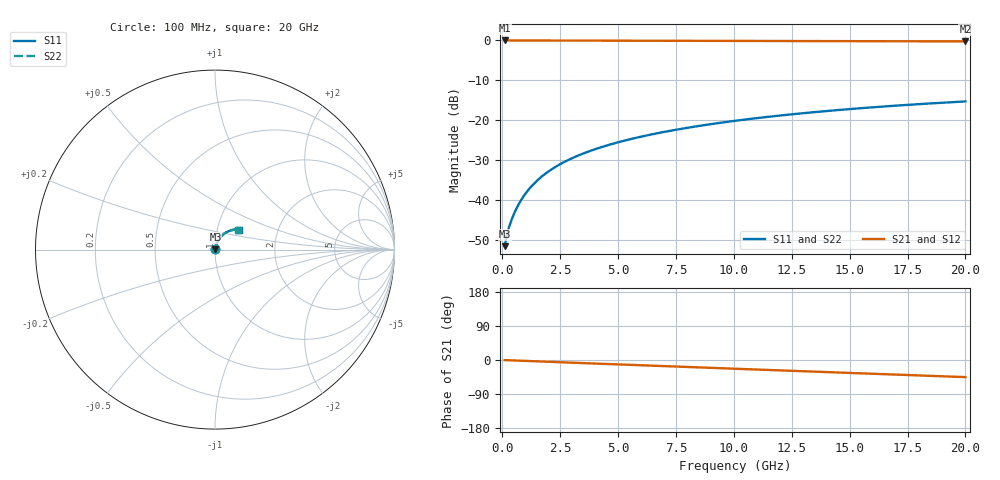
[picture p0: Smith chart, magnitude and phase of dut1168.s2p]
! Touchstone file exported from HFSS 2026.1.0
!  File:  C:/ffzhzh/LocalFiles/Ansys_Project_Files/temp_train_TMRDL_1168_1783162406_51560.aedt
!  Generated:  06:54:44 PM Jul  4, 2026
!  Design:  TMRDL
!  Project:  temp_train_TMRDL_1168_1783162406_51560
! Variables:
!  h_bsmrdl = 2um
!  h_ox = 20um
!  h_rdl = 5um
!  h_sub = 80um
!  h_tmrdl = 5.62um
!  h_tsv = 80um
!  h_via = 3um
!  l_bsmrdl = 300um
!  l_sub = 1182.29um
!  l_tmrdl = 782.29um
!  m_sub = 200um
!  pitch = 37.72um
!  r_tsv = 6um
!  s_tmrdl = 10um
!  w_bsmrdl = 18um
!  w_sub = 500um
!  w_tmrdl = 26.42um
!  x_tsv_center1 = 795.5um
!  x_tsv_center2 = 1113.5um
!  x_tsv_center3 = 1922.21um
!  x_tsv_center4 = 2240.21um
!  x_tsv_center5 = 3048.92um
!  x_tsv_center6 = 3366.92um
# GHz S MA R 50.000000
! Terminal data exported
! Port[1] = TM_RDL1_1_T1
! Port[2] = TM_RDL1_1_T2
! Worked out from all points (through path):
!   200 points, 100 MHz to 20 GHz, reference 50 ohm
!   highest |S21| = -0.02 dB at 100 MHz (marker M1); lowest = -0.3 dB at 20 GHz (marker M2)
!   group delay of S21, straight-line fit = 6.25 ps
!   lowest |S11| = -51.6 dB at 100 MHz (marker M3), VSWR 1.01, Z = 50.2 + j0.152 ohm
!   |S11| at or under -10 dB: start of sweep to end of sweep
!   |S22| runs from -51.6 to -15.3 dB; largest |S21 - S12| = 2e-15
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0.1  0.002645 35.0  0.9978 -0.3  0.9978 -0.3  0.002645 35.0
! Gamma 0 0 0 0
! Port Impedance 50 0 50 0
0.2  0.00368 47.8  0.9975 -0.5  0.9975 -0.5  0.00368 47.8
0.3  0.004665 54.9  0.9974 -0.7  0.9974 -0.7  0.004665 54.9
0.4  0.005655 60.0  0.9972 -1.0  0.9972 -1.0  0.005655 60.0
0.5  0.006672 63.7  0.9972 -1.2  0.9972 -1.2  0.006672 63.7
0.6  0.007716 66.5  0.9971 -1.4  0.9971 -1.4  0.007716 66.5
0.8  0.009855 70.1  0.9969 -1.9  0.9969 -1.9  0.009855 70.1
1  0.01203 72.3  0.9968 -2.4  0.9968 -2.4  0.01203 72.3
1.2  0.01422 73.5  0.9966 -2.9  0.9966 -2.9  0.01422 73.5
1.4  0.01641 74.3  0.9963 -3.3  0.9963 -3.3  0.01641 74.3
1.7  0.01967 74.8  0.996 -4.0  0.996 -4.0  0.01967 74.8
2.2  0.02502 74.8  0.9953 -5.2  0.9953 -5.2  0.02502 74.8
2.8  0.03127 74.1  0.9945 -6.6  0.9945 -6.6  0.03127 74.1
3.5  0.03834 73.1  0.9935 -8.2  0.9935 -8.2  0.03834 73.1
4.2  0.04522 71.9  0.9925 -9.8  0.9925 -9.8  0.04522 71.9
5  0.0529 70.5  0.9914 -11.7  0.9914 -11.7  0.0529 70.5
6.8  0.06963 67.1  0.9889 -15.7  0.9889 -15.7  0.06963 67.2
8.3  0.0831 64.3  0.987 -19.1  0.987 -19.1  0.0831 64.3
10.1  0.09872 60.7  0.9846 -23.2  0.9846 -23.2  0.09872 60.8
13.4  0.1257 54.0  0.98 -30.6  0.98 -30.6  0.1257 54.1
16.7  0.1502 47.2  0.9754 -37.9  0.9754 -37.9  0.1502 47.3
20  0.1719 40.4  0.9709 -45.2  0.9709 -45.2  0.1719 40.5
